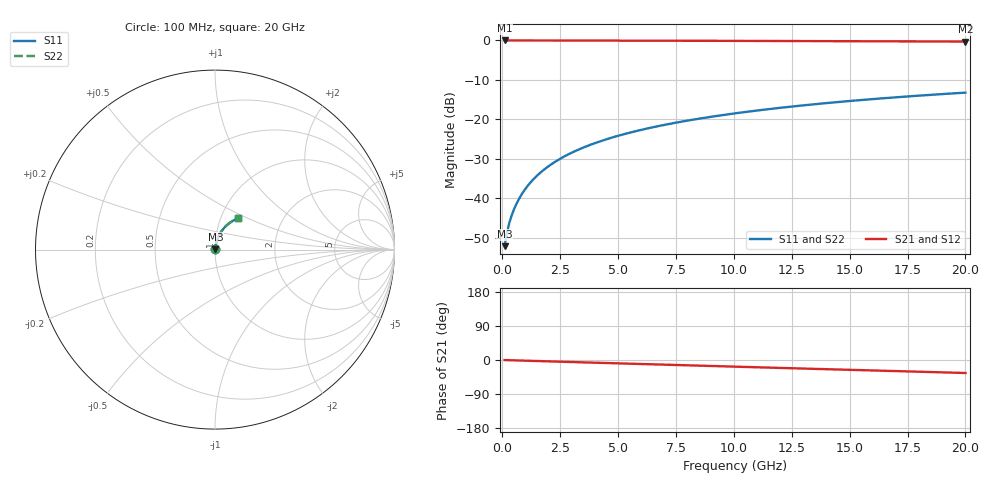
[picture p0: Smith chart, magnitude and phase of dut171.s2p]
! Touchstone file exported from HFSS 2026.1.0
!  File:  C:/ffzhzh/LocalFiles/Ansys_Project_Files/temp_train_BSMRDL_171_1782987007_6248.aedt
!  Generated:  06:11:20 PM Jul  2, 2026
!  Design:  BSMRDL
!  Project:  temp_train_BSMRDL_171_1782987007_6248
! Variables:
!  h_bsmrdl = 3.95um
!  h_ox = 20um
!  h_rdl = 5um
!  h_sub = 80um
!  h_tmrdl = 5um
!  h_tsv = 80um
!  h_via = 3um
!  l_bsmrdl = 541.33um
!  l_sub = 941.33um
!  l_tmrdl = 200um
!  m_sub = 200um
!  pitch = 45.51um
!  r_tsv = 6um
!  s_tmrdl = 10um
!  w_bsmrdl = 29.3um
!  w_sub = 500um
!  w_tmrdl = 12um
!  x_tsv_center1 = 206um
!  x_tsv_center2 = 776.63um
!  x_tsv_center3 = 988.63um
!  x_tsv_center4 = 1559.26um
!  x_tsv_center5 = 1771.26um
!  x_tsv_center6 = 2341.89um
# GHz S MA R 50.000000
! Terminal data exported
! Port[1] = BSM_RDL1_1_T1
! Port[2] = BSM_RDL1_1_T2
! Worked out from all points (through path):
!   200 points, 100 MHz to 20 GHz, reference 50 ohm
!   highest |S21| = -0.02 dB at 100 MHz (marker M1); lowest = -0.3 dB at 20 GHz (marker M2)
!   group delay of S21, straight-line fit = 4.75 ps
!   lowest |S11| = -52.2 dB at 100 MHz (marker M3), VSWR 1.00, Z = 50.2 + j0.153 ohm
!   |S11| at or under -10 dB: start of sweep to end of sweep
!   |S22| runs from -52.2 to -13.2 dB; largest |S21 - S12| = 2.7e-15
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0.1  0.002463 38.3  0.9981 -0.2  0.9981 -0.2  0.002463 38.3
! Gamma 0 0 0 0
! Port Impedance 50 0 50 0
0.2  0.003622 53.8  0.9979 -0.4  0.9979 -0.4  0.003623 53.8
0.3  0.004815 61.0  0.9977 -0.6  0.9977 -0.6  0.004815 61.0
0.4  0.005989 65.4  0.9976 -0.7  0.9976 -0.7  0.005989 65.4
0.5  0.00716 68.5  0.9975 -0.9  0.9975 -0.9  0.00716 68.5
0.6  0.008338 70.8  0.9974 -1.1  0.9974 -1.1  0.008339 70.8
0.8  0.01073 74.1  0.9973 -1.4  0.9973 -1.4  0.01073 74.1
1.1  0.01437 76.8  0.9971 -2.0  0.9971 -2.0  0.01437 76.8
1.3  0.01682 77.9  0.997 -2.3  0.997 -2.3  0.01682 77.9
1.6  0.02052 78.8  0.9969 -2.9  0.9969 -2.9  0.02052 78.8
2.1  0.02669 79.5  0.9965 -3.8  0.9965 -3.8  0.02669 79.5
2.7  0.03407 79.4  0.996 -4.8  0.996 -4.8  0.03407 79.4
3.5  0.04382 78.8  0.9952 -6.2  0.9952 -6.2  0.04382 78.7
4.2  0.05225 77.9  0.9944 -7.5  0.9944 -7.5  0.05225 77.9
5  0.06175 76.8  0.9934 -8.9  0.9934 -8.9  0.06175 76.8
5.9  0.07229 75.5  0.9922 -10.4  0.9922 -10.4  0.07228 75.4
6.8  0.08266 74.1  0.9909 -12.0  0.9909 -12.0  0.08265 74.1
8.3  0.0996 71.7  0.9886 -14.6  0.9886 -14.6  0.0996 71.7
10.1  0.1194 68.9  0.9857 -17.7  0.9857 -17.7  0.1194 68.9
13.4  0.1543 63.7  0.9798 -23.3  0.9798 -23.3  0.1543 63.7
16.7  0.1871 58.5  0.9732 -28.8  0.9732 -28.8  0.1871 58.4
20  0.2176 53.2  0.9663 -34.3  0.9663 -34.3  0.2176 53.2
